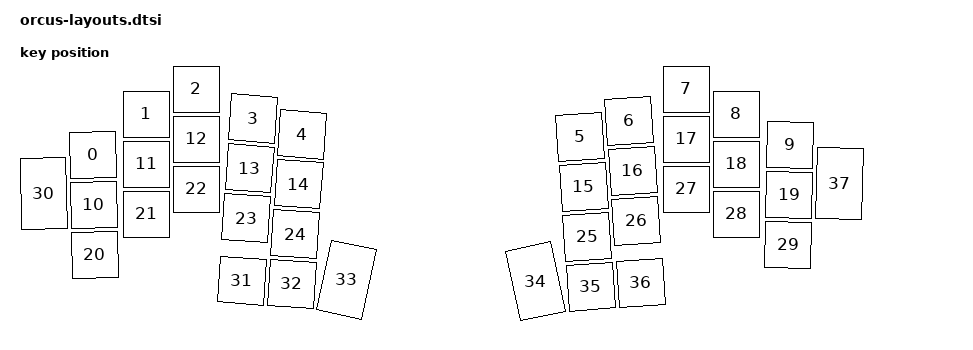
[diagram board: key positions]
#include <physical_layouts.dtsi>

/ {
    orcus_layout: orcus_layout{
        compatible = "zmk,physical-layout";
        display-name = "ORCUS Keyboard Layout";

        kscan = <&kscan0>;
        transform = <&matrix_transform0>;

        keys  //                     w   h    x    y     rot    rx    ry
            = <&key_physical_attrs 100 100  100  135  (-100) (-10)     0>
            , <&key_physical_attrs 100 100  210   50       0     0     0>
            , <&key_physical_attrs 100 100  310    0       0     0     0>
            , <&key_physical_attrs 100 100  430   25     400 (-10)     0>
            , <&key_physical_attrs 100 100  530   50     400 (-10)     0>
            , <&key_physical_attrs 100 100 1065  175  (-400) (-10)     0>
            , <&key_physical_attrs 100 100 1165  150  (-400) (-10)     0>
            , <&key_physical_attrs 100 100 1290    0       0     0     0>
            , <&key_physical_attrs 100 100 1390   50       0     0     0>
            , <&key_physical_attrs 100 100 1500   85     100 (-10)     0>
            , <&key_physical_attrs 100 100  100  235  (-100) (-10)     0>
            , <&key_physical_attrs 100 100  210  150       0     0     0>
            , <&key_physical_attrs 100 100  310  100       0     0     0>
            , <&key_physical_attrs 100 100  430  125     400 (-10)     0>
            , <&key_physical_attrs 100 100  530  150     400 (-10)     0>
            , <&key_physical_attrs 100 100 1065  275  (-400) (-10)     0>
            , <&key_physical_attrs 100 100 1165  250  (-400) (-10)     0>
            , <&key_physical_attrs 100 100 1290  100       0     0     0>
            , <&key_physical_attrs 100 100 1390  150       0     0     0>
            , <&key_physical_attrs 100 100 1500  185     100 (-10)     0>
            , <&key_physical_attrs 100 100  100  335  (-100) (-10)     0>
            , <&key_physical_attrs 100 100  210  250       0     0     0>
            , <&key_physical_attrs 100 100  310  200       0     0     0>
            , <&key_physical_attrs 100 100  430  225     400 (-10)     0>
            , <&key_physical_attrs 100 100  530  250     400 (-10)     0>
            , <&key_physical_attrs 100 100 1065  375  (-400) (-10)     0>
            , <&key_physical_attrs 100 100 1165  350  (-400) (-10)     0>
            , <&key_physical_attrs 100 100 1290  200       0     0     0>
            , <&key_physical_attrs 100 100 1390  250       0     0     0>
            , <&key_physical_attrs 100 100 1500  285     100 (-10)     0>
            , <&key_physical_attrs 100 150    0  185  (-100) (-10)     0>
            , <&key_physical_attrs 100 100  430  350     400 (-10)     0>
            , <&key_physical_attrs 100 100  530  350     400 (-10)     0>
            , <&key_physical_attrs 100 150  685  208    1200 (-10)     0>
            , <&key_physical_attrs 100 150  875  568 (-1200) (-10)     0>
            , <&key_physical_attrs 100 100 1065  475  (-400) (-10)     0>
            , <&key_physical_attrs 100 100 1165  475  (-400) (-10)     0>
            , <&key_physical_attrs 100 150 1600  135     100 (-10)     0>
            ;
    };
};
